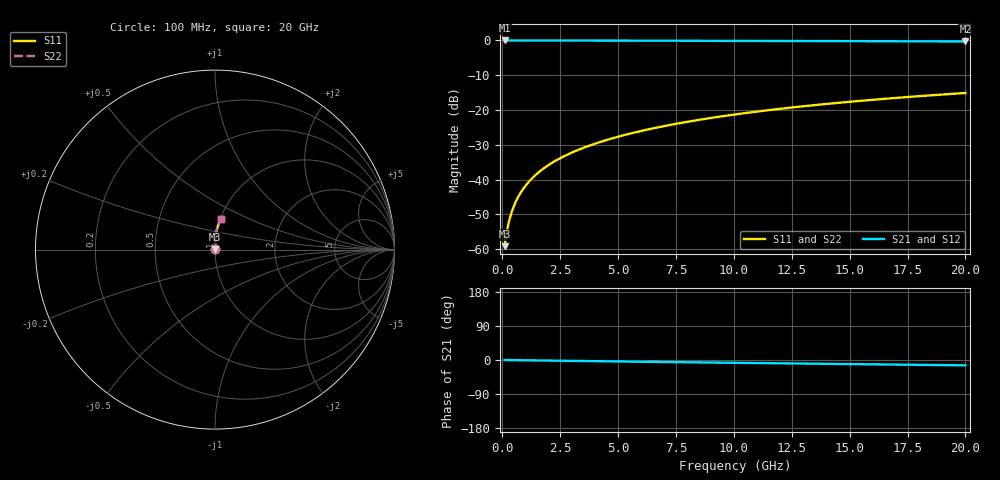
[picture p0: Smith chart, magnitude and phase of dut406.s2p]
! Touchstone file exported from HFSS 2024.1.0
!  File:  C:/UserFiles/LocalFiles/RDL_TSV_Batchsim/temp_RDL_top_406_1779675374.aedt
!  Generated:  10:18:49 AM May 25, 2026
!  Design:  RDL_top
!  Project:  temp_RDL_top_406_1779675374
!  Setup:  Setup1
!  Solution:  Sweep
! Variables:
!  dtsv = 10.80580581um
!  hbump = 3um
!  htsv = 57.02um
!  ldown = 100um
!  lrdl = 148.36um
!  p = 40
!  p1 = 57.81um
!  rhole = 1um
!  t = 450um
!  tdown = 3.915915916um
!  trdl = 4.76um
!  wdown = 15.38538539um
!  wrdl = 19.83um
# GHz S MA R 50.000000
! Terminal data exported
! Port[1] = Box2_T1
! Port[2] = Box2_T2
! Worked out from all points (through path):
!   200 points, 100 MHz to 20 GHz, reference 50 ohm
!   highest |S21| = -0.01 dB at 100 MHz (marker M1); lowest = -0.3 dB at 20 GHz (marker M2)
!   group delay of S21, straight-line fit = 1.94 ps
!   lowest |S11| = -59.1 dB at 100 MHz (marker M3), VSWR 1.00, Z = 50.1 + j0.085 ohm
!   |S11| at or under -10 dB: start of sweep to end of sweep
!   |S22| runs from -59.1 to -15.1 dB; largest |S21 - S12| = 3.3e-15
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0.1  0.001105 50.2  0.9993 -0.1  0.9993 -0.1  0.001105 50.2
! Gamma 0 0 0 0
! Port Impedance 50 0 50 0
0.2  0.00183 66.2  0.9993 -0.2  0.9993 -0.2  0.00183 66.2
0.3  0.002599 72.9  0.9992 -0.2  0.9992 -0.2  0.002599 72.9
0.4  0.003377 76.6  0.9992 -0.3  0.9992 -0.3  0.003377 76.6
0.5  0.004162 79.0  0.9991 -0.4  0.9991 -0.4  0.004162 79.0
0.7  0.005744 82.0  0.999 -0.6  0.999 -0.6  0.005744 82.0
0.8  0.00654 82.9  0.999 -0.6  0.999 -0.6  0.00654 82.9
1  0.008138 84.3  0.9989 -0.8  0.9989 -0.8  0.008138 84.3
1.2  0.009744 85.3  0.9988 -1.0  0.9988 -1.0  0.009744 85.3
1.4  0.01136 85.9  0.9987 -1.1  0.9987 -1.1  0.01136 85.9
1.7  0.01378 86.7  0.9984 -1.4  0.9984 -1.4  0.01378 86.7
2  0.01622 87.2  0.9982 -1.6  0.9982 -1.6  0.01622 87.2
2.7  0.02196 88.0  0.9974 -2.1  0.9974 -2.1  0.02196 88.0
3.5  0.0286 88.4  0.9964 -2.8  0.9964 -2.8  0.0286 88.4
4.2  0.03449 88.6  0.9954 -3.3  0.9954 -3.3  0.03449 88.6
5  0.04133 88.6  0.9941 -3.9  0.9941 -3.9  0.04133 88.6
6.8  0.05708 88.2  0.9911 -5.2  0.9911 -5.2  0.05708 88.2
8.4  0.07141 87.5  0.9883 -6.3  0.9883 -6.3  0.07141 87.5
10.1  0.08681 86.5  0.9853 -7.5  0.9853 -7.5  0.08681 86.5
13.4  0.1169 84.1  0.9795 -9.7  0.9795 -9.7  0.1169 84.1
16.7  0.1466 81.7  0.9736 -11.9  0.9736 -11.9  0.1466 81.7
20  0.1758 79.2  0.9672 -14.1  0.9672 -14.1  0.1758 79.2
